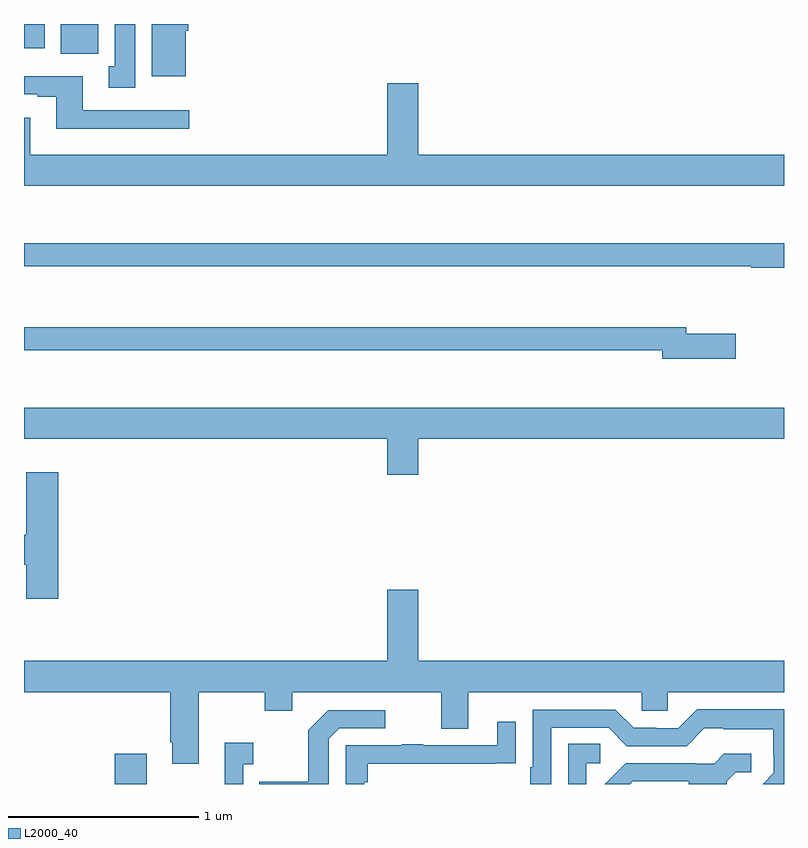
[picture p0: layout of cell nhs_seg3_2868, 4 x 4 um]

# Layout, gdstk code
import gdstk
lib = gdstk.Library(unit=1e-6, precision=1e-09)
def R(c, l, rs):  # rectangles x0, y0, x1, y1
    for r in rs: c.add(gdstk.rectangle(r[:2], r[2:], *l))
def P(c, l, *ps):  # polygons
    for p in ps: c.add(gdstk.Polygon(p, *l))
L2000_40 = (2000, 40)

nhs_seg3_2868 = lib.new_cell('nhs_seg3_2868')
R(nhs_seg3_2868, L2000_40, [(259.478,732.4,259.645,732.559), (259.193,736.244,259.39,736.4), (259,736.272,259.108,736.4)])
P(nhs_seg3_2868, L2000_40, [(259.585,736.4),(259.478,736.4),(259.478,736.178),(259.445,736.178),(259.445,736.065),(259.585,736.065)],
  [(259.852,736.364),(259.865,736.364),(259.865,736.4),(259.673,736.4),(259.673,736.124),(259.852,736.124)],
  [(259.87,735.945),(259.309,735.945),(259.309,736.126),(259,736.126),(259,736.029),(259.073,736.029),(259.073,736.017),(259.169,736.017),(259.169,735.848),(259.87,735.848)],
  [(263,735.712),(261.076,735.712),(261.076,736.087),(260.912,736.087),(260.912,735.712),(259.033,735.712),(259.033,735.907),(259,735.907),(259,735.548),(263,735.548)],
  [(263,735.247),(259,735.247),(259,735.126),(262.828,735.126),(262.828,735.118),(263,735.118)],
  [(262.747,734.769),(262.486,734.769),(262.486,734.803),(259,734.803),(259,734.682),(262.358,734.682),(262.358,734.639),(262.747,734.639)],
  [(261.076,734.216),(263,734.216),(263,734.38),(259,734.38),(259,734.216),(260.912,734.216),(260.912,734.028),(261.076,734.028)],
  [(259.181,734.041),(259.013,734.041),(259.013,733.711),(259,733.711),(259,733.553),(259.013,733.553),(259.013,733.374),(259.181,733.374)],
  [(259.921,732.884),(260.266,732.884),(260.266,732.785),(260.413,732.785),(260.413,732.884),(261.197,732.884),(261.197,732.69),(261.337,732.69),(261.337,732.884),(262.251,732.884),(262.251,732.786),(262.389,732.786),(262.389,732.884),(263,732.884),(263,733.048),(261.076,733.048),(261.076,733.423),(260.912,733.423),(260.912,733.048),(259,733.048),(259,732.884),(259.769,732.884),(259.769,732.619),(259.781,732.619),(259.781,732.507),(259.921,732.507)],
  [(261.774,732.696),(262.077,732.696),(262.173,732.6),(262.488,732.6),(262.581,732.693),(262.681,732.693),(262.681,732.689),(262.944,732.689),(262.944,732.555),(262.946,732.555),(262.946,732.458),(262.888,732.4),(263,732.4),(263,732.793),(262.543,732.793),(262.443,732.693),(262.328,732.693),(262.328,732.696),(262.209,732.696),(262.113,732.792),(261.678,732.792),(261.678,732.487),(261.665,732.487),(261.665,732.4),(261.774,732.4)],
  [(260.604,732.639),(260.658,732.693),(260.902,732.693),(260.902,732.789),(260.601,732.789),(260.496,732.683),(260.496,732.411),(260.239,732.411),(260.239,732.4),(260.604,732.4)],
  [(260.79,732.41),(260.81,732.41),(260.81,732.507),(261.485,732.507),(261.485,732.508),(261.587,732.508),(261.587,732.727),(261.491,732.727),(261.491,732.603),(261.101,732.603),(261.101,732.608),(260.989,732.608),(260.989,732.603),(260.694,732.603),(260.694,732.4),(260.79,732.4)],
  [(260.154,732.503),(260.206,732.503),(260.206,732.616),(260.057,732.616),(260.057,732.4),(260.154,732.4)],
  [(261.96,732.51),(262.033,732.51),(262.033,732.611),(261.864,732.611),(261.864,732.4),(261.96,732.4)],
  [(262.204,732.414),(262.499,732.414),(262.499,732.4),(262.699,732.4),(262.699,732.415),(262.746,732.462),(262.828,732.462),(262.828,732.559),(262.684,732.559),(262.632,732.507),(262.538,732.507),(262.538,732.51),(262.166,732.51),(262.056,732.4),(262.19,732.4)])

lib.write_gds('nhs_seg3_2868.gds')
